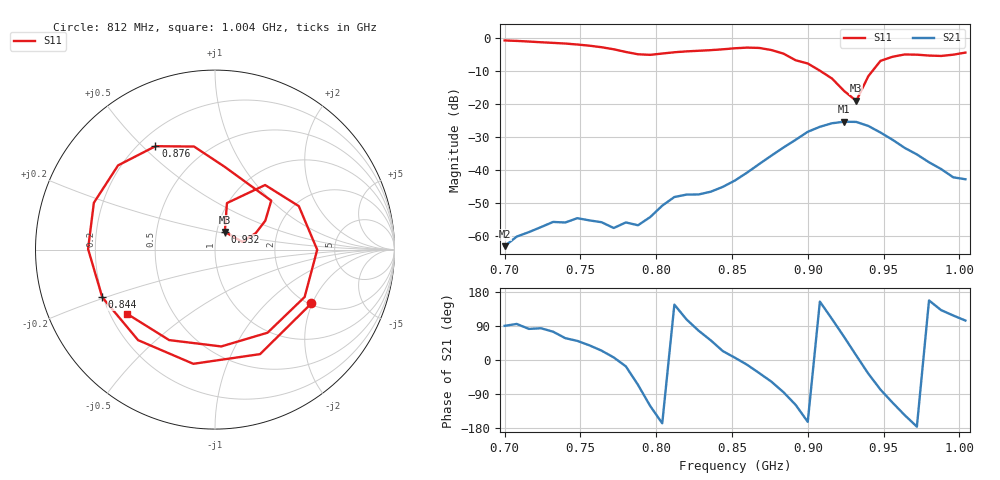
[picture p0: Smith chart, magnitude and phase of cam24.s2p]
# Hz S RI R 50
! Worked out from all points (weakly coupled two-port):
!   39 points, 700 MHz to 1.004 GHz, reference 50 ohm
!   highest |S21| = -25.31 dB at 924 MHz (marker M1); lowest = -63.1 dB at 700 MHz (marker M2)
!   lowest |S11| = -19.0 dB at 932 MHz (marker M3), VSWR 1.25, Z = 54.7 + j10.9 ohm
!   |S11| at or under -10 dB: 908.6 MHz to 942.5 MHz (33.87 MHz wide, 3.66 % of centre)
!   S12 and S22 are empty: the file has one direction only
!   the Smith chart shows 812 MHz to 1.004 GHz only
!   S11 on the Smith chart (normalised r, x): 812 MHz: 2.04, -1.97; 844 MHz: 0.20, -0.19; 876 MHz: 0.27, +0.55; 932 MHz: 1.09, +0.22; 1.004 GHz: 0.27, -0.30
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7e8  0.7628 0.5301  -1.55e-06 0.000701  0 0  0 0
7.24e8  0.8334 -0.2577  0.000148 0.00136  0 0  0 0
7.4e8  0.4463 -0.7045  0.000857 0.00136  0 0  0 0
7.56e8  -0.1958 -0.7483  0.00135 0.00108  0 0  0 0
7.72e8  -0.6556 -0.1891  0.00131 0.000157  0 0  0 0
7.8e8  -0.5765 0.2314  0.00154 -0.000465  0 0  0 0
7.88e8  -0.2257 0.5266  0.000603 -0.00133  0 0  0 0
7.96e8  0.2547 0.5009  -0.000996 -0.00166  0 0  0 0
8.04e8  0.5702 0.1428  -0.00281 -0.000644  0 0  0 0
8.12e8  0.5368 -0.3001  -0.00324 0.00218  0 0  0 0
8.28e8  -0.1209 -0.6363  0.00094 0.00417  0 0  0 0
8.44e8  -0.6282 -0.2653  0.00511 0.00221  0 0  0 0
8.52e8  -0.7071 0.00338  0.00693 0.000712  0 0  0 0
8.76e8  -0.3317 0.5761  0.00901 -0.0139  0 0  0 0
9e8  0.3133 0.2729  -0.0365 -0.011  0 0  0 0
9.08e8  0.2804 0.161  -0.0409 0.0199  0 0  0 0
9.24e8  0.153 0.0428  0.0265 0.0474  0 0  0 0
9.32e8  0.0549 0.0985  0.0528 0.0111  0 0  0 0
9.48e8  0.2793 0.3599  0.00759 -0.0364  0 0  0 0
9.56e8  0.4672 0.242  -0.0112 -0.0266  0 0  0 0
9.8e8  0.2928 -0.463  -0.0121 0.0051  0 0  0 0
1.004e9  -0.4923 -0.3565  -0.00177 0.00705  0 0  0 0
